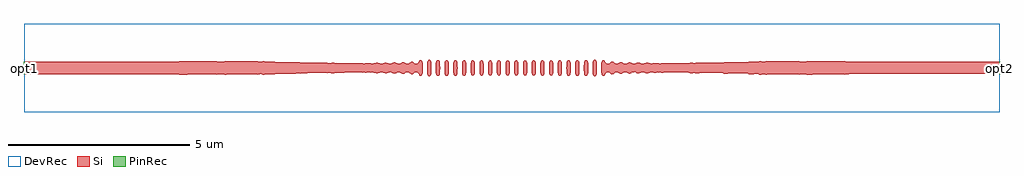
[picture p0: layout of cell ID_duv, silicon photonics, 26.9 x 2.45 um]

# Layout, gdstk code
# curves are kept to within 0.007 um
import gdstk
lib = gdstk.Library(unit=1e-6, precision=1e-09)
def R(c, l, rs):  # rectangles x0, y0, x1, y1
    for r in rs: c.add(gdstk.rectangle(r[:2], r[2:], *l))
def P(c, l, *ps):  # polygons
    for p in ps: c.add(gdstk.Polygon(p, *l))
Si = (1, 0)
PinRec = (1, 10)
DevRec = (68, 0)

id_duv = lib.new_cell('ID_duv')
P(id_duv, Si, [(-2.526,-0.211),(-2.553,-0.195),(-2.608,-0.12),(-2.659,-0.112),(-2.76,-0.178),(-2.838,-0.127),(-2.884,-0.116),(-2.918,-0.122),(-2.993,-0.161),(-3.111,-0.117),(-3.156,-0.121),(-3.239,-0.153),(-3.361,-0.117),(-3.471,-0.145),(-3.59,-0.119),(-3.71,-0.141),(-3.839,-0.121),(-3.964,-0.136),(-4.089,-0.123),(-4.195,-0.136),(-4.355,-0.127),(-5.955,-0.152),(-6.833,-0.18),(-6.947,-0.175),(-7.08,-0.188),(-7.213,-0.18),(-7.327,-0.192),(-7.433,-0.182),(-7.574,-0.189),(-7.928,-0.179),(-13.44,-0.175),(-13.44,0.175),(-7.928,0.179),(-7.574,0.189),(-7.424,0.182),(-7.327,0.192),(-7.204,0.18),(-7.08,0.188),(-6.938,0.175),(-6.833,0.18),(-5.964,0.152),(-4.355,0.127),(-4.179,0.136),(-4.089,0.123),(-3.943,0.136),(-3.839,0.121),(-3.709,0.142),(-3.59,0.119),(-3.478,0.146),(-3.361,0.117),(-3.245,0.153),(-3.15,0.119),(-3.111,0.117),(-2.993,0.161),(-2.929,0.126),(-2.884,0.116),(-2.838,0.127),(-2.76,0.178),(-2.659,0.112),(-2.607,0.12),(-2.548,0.199),(-2.515,0.211),(-2.48,0.183),(-2.465,0.137),(-2.465,-0.14),(-2.493,-0.2)],
  [(2.518,-0.211),(2.495,-0.202),(2.479,-0.18),(2.465,-0.105),(2.467,0.148),(2.483,0.187),(2.518,0.211),(2.55,0.197),(2.586,0.138),(2.607,0.122),(2.663,0.114),(2.762,0.178),(2.843,0.125),(2.888,0.116),(2.923,0.123),(2.996,0.161),(3.117,0.116),(3.241,0.153),(3.365,0.117),(3.474,0.145),(3.595,0.119),(3.705,0.141),(3.843,0.121),(3.944,0.136),(4.092,0.123),(4.192,0.136),(4.57,0.129),(5.968,0.152),(6.819,0.18),(6.941,0.175),(7.083,0.188),(7.218,0.18),(7.314,0.192),(7.436,0.182),(7.578,0.189),(7.932,0.179),(13.44,0.175),(13.44,-0.175),(7.923,-0.179),(7.578,-0.189),(7.427,-0.182),(7.314,-0.192),(7.208,-0.18),(7.083,-0.188),(6.941,-0.175),(6.819,-0.18),(6.004,-0.153),(4.57,-0.129),(4.303,-0.127),(4.198,-0.136),(4.092,-0.123),(3.944,-0.136),(3.843,-0.121),(3.735,-0.142),(3.595,-0.119),(3.474,-0.146),(3.365,-0.117),(3.241,-0.153),(3.149,-0.12),(3.105,-0.117),(2.996,-0.161),(2.912,-0.119),(2.88,-0.116),(2.843,-0.124),(2.762,-0.178),(2.663,-0.114),(2.613,-0.118),(2.585,-0.139),(2.551,-0.196)],
  [(-2.281,-0.226),(-2.308,-0.212),(-2.329,-0.17),(-2.336,0.002),(-2.329,0.17),(-2.306,0.214),(-2.281,0.226),(-2.252,0.214),(-2.228,0.171),(-2.221,0.018),(-2.228,-0.168),(-2.25,-0.212)],
  [(-2.042,-0.217),(-2.075,-0.196),(-2.093,-0.153),(-2.098,0.014),(-2.091,0.163),(-2.065,0.206),(-2.036,0.217),(-2.007,0.198),(-1.987,0.156),(-1.982,-0.015),(-1.987,-0.154),(-2.016,-0.209)],
  [(-1.802,-0.217),(-1.834,-0.196),(-1.851,-0.156),(-1.856,-0.015),(-1.85,0.163),(-1.831,0.198),(-1.802,0.217),(-1.774,0.206),(-1.752,0.17),(-1.742,0.018),(-1.747,-0.153),(-1.765,-0.196)],
  [(-1.557,-0.213),(-1.59,-0.195),(-1.61,-0.152),(-1.616,0.002),(-1.61,0.155),(-1.589,0.197),(-1.557,0.213),(-1.529,0.197),(-1.509,0.159),(-1.502,0.018),(-1.508,-0.159),(-1.527,-0.195)],
  [(-1.324,-0.211),(-1.351,-0.194),(-1.373,-0.146),(-1.377,0.027),(-1.367,0.169),(-1.349,0.197),(-1.318,0.211),(-1.291,0.197),(-1.27,0.154),(-1.264,-0.024),(-1.271,-0.158),(-1.289,-0.195)],
  [(-1.079,-0.208),(-1.109,-0.194),(-1.126,-0.163),(-1.135,-0.015),(-1.128,0.154),(-1.112,0.189),(-1.085,0.208),(-1.057,0.2),(-1.035,0.169),(-1.024,0.018),(-1.028,-0.144),(-1.05,-0.194)],
  [(-0.844,-0.207),(-0.868,-0.194),(-0.892,-0.136),(-0.893,0.124),(-0.876,0.182),(-0.855,0.204),(-0.834,0.207),(-0.798,0.177),(-0.786,0.139),(-0.784,-0.106),(-0.798,-0.177),(-0.823,-0.204)],
  [(-0.6,-0.208),(-0.628,-0.194),(-0.653,-0.136),(-0.655,0.045),(-0.648,0.158),(-0.626,0.196),(-0.597,0.208),(-0.566,0.188),(-0.545,0.138),(-0.542,-0.024),(-0.552,-0.164),(-0.57,-0.194)],
  [(-0.366,-0.207),(-0.399,-0.18),(-0.414,-0.136),(-0.415,0.124),(-0.411,0.154),(-0.387,0.196),(-0.355,0.207),(-0.32,0.179),(-0.308,0.139),(-0.306,-0.129),(-0.331,-0.194)],
  [(-0.121,-0.208),(-0.148,-0.194),(-0.169,-0.152),(-0.175,0.018),(-0.164,0.169),(-0.143,0.199),(-0.117,0.208),(-0.087,0.19),(-0.064,0.138),(-0.061,-0.024),(-0.067,-0.151),(-0.087,-0.191)],
  [(0.118,-0.208),(0.09,-0.194),(0.064,-0.136),(0.061,0.027),(0.068,0.153),(0.092,0.196),(0.123,0.208),(0.158,0.179),(0.173,0.132),(0.173,-0.134),(0.148,-0.194)],
  [(0.358,-0.208),(0.331,-0.194),(0.31,-0.152),(0.304,0.002),(0.311,0.154),(0.333,0.196),(0.358,0.208),(0.391,0.192),(0.411,0.153),(0.417,0.018),(0.413,-0.144),(0.391,-0.192)],
  [(0.602,-0.208),(0.57,-0.194),(0.552,-0.165),(0.542,-0.015),(0.548,0.153),(0.572,0.196),(0.602,0.208),(0.626,0.196),(0.649,0.154),(0.655,0.036),(0.653,-0.137),(0.628,-0.194)],
  [(0.836,-0.208),(0.81,-0.194),(0.785,-0.137),(0.783,0.036),(0.791,0.161),(0.812,0.196),(0.841,0.208),(0.866,0.196),(0.888,0.154),(0.895,-0.024),(0.887,-0.158),(0.868,-0.194)],
  [(1.081,-0.208),(1.051,-0.194),(1.03,-0.152),(1.024,-0.015),(1.031,0.154),(1.053,0.196),(1.074,0.208),(1.102,0.2),(1.126,0.162),(1.135,0.018),(1.131,-0.144),(1.109,-0.194)],
  [(1.315,-0.21),(1.28,-0.181),(1.267,-0.137),(1.266,0.107),(1.28,0.18),(1.304,0.207),(1.326,0.21),(1.362,0.179),(1.375,0.139),(1.375,-0.137),(1.351,-0.194)],
  [(1.56,-0.213),(1.527,-0.195),(1.509,-0.159),(1.502,-0.015),(1.508,0.155),(1.529,0.197),(1.56,0.213),(1.589,0.197),(1.61,0.155),(1.616,0.002),(1.607,-0.164),(1.591,-0.195)],
  [(1.794,-0.216),(1.765,-0.196),(1.744,-0.137),(1.744,0.125),(1.762,0.191),(1.779,0.211),(1.804,0.216),(1.84,0.186),(1.854,0.14),(1.854,-0.137),(1.833,-0.196)],
  [(2.039,-0.218),(2.017,-0.209),(1.99,-0.166),(1.982,-0.015),(1.99,0.166),(2.017,0.209),(2.039,0.218),(2.059,0.211),(2.088,0.17),(2.098,0.018),(2.095,-0.145),(2.075,-0.196)],
  [(2.283,-0.226),(2.25,-0.212),(2.224,-0.154),(2.221,0.002),(2.227,0.164),(2.252,0.214),(2.283,0.226),(2.305,0.216),(2.329,0.172),(2.335,0.018),(2.332,-0.154),(2.318,-0.198)])
R(id_duv, DevRec, [(-13.44,-1.226,13.44,1.226)])
id_duv.add(gdstk.FlexPath([(-13.43,0),(-13.45,0)], 0.35, ends="flush", simple_path=True, layer=1, datatype=10))  # PinRec
id_duv.add(gdstk.FlexPath([(13.43,0),(13.45,0)], 0.35, ends="flush", simple_path=True, layer=1, datatype=10))  # PinRec
id_duv.add(gdstk.Label('opt1', (-13.44,0), layer=1, texttype=10))
id_duv.add(gdstk.Label('opt2', (13.44,0), layer=1, texttype=10))

lib.write_gds('ID_duv.gds')
